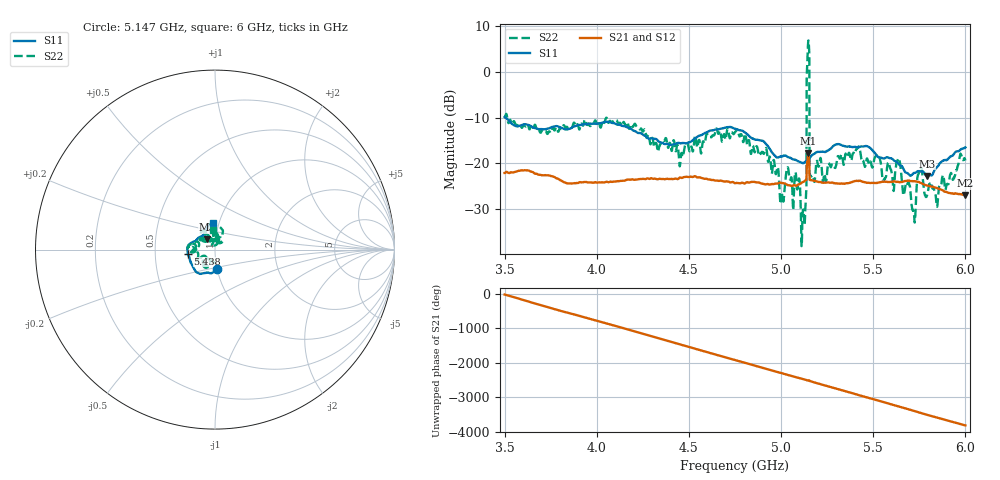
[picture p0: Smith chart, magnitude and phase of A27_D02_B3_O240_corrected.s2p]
! Created with skrf 1.9.0 (http://scikit-rf.org).
# Hz S RI R 50.0
!freq ReS11 ImS11 ReS21 ImS21 ReS12 ImS12 ReS22 ImS22
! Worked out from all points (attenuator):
!   1601 points, 3.5 GHz to 6 GHz, reference 50 ohm
!   highest |S21| = -17.74 dB at 5.148 GHz (marker M1); lowest = -26.9 dB at 6 GHz (marker M2)
!   lowest |S11| = -22.7 dB at 5.791 GHz (marker M3), VSWR 1.16, Z = 45.5 + j5.31 ohm
!   |S11| at or under -10 dB: 3.504 GHz to end of sweep
!   |S22| runs from -38.1 to 6.8 dB; largest |S21 - S12| = 0.0012
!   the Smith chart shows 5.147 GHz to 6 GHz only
!   S11 on the Smith chart (normalised r, x): 5.147 GHz: 0.99, -0.22; 5.438 GHz: 0.74, -0.03; 6 GHz: 0.94, +0.29
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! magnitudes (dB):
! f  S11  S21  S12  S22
! 3.5 GHz  -9.9  -22.1  -22.1  -10.2
! 3.917 GHz  -11.6  -24.1  -24.1  -11.3
! 4.334 GHz  -15.2  -23.4  -23.4  -17.2
! 4.458 GHz  -15.6  -23.1  -23.1  -18.0
! 4.75 GHz  -12.4  -24.3  -24.2  -13.1
! 4.927 GHz  -16.1  -24.5  -24.5  -18.7
! 5.005 GHz  -18.4  -24.3  -24.3  -26.9
! 5.034 GHz  -18.6  -24.7  -24.6  -20.9
! 5.088 GHz  -19.4  -24.7  -24.7  -25.7
! 5.12 GHz  -20.0  -24.0  -24.0  -30.1
! 5.125 GHz  -19.9  -23.9  -23.9  -32.1
! 5.141 GHz  -19.3  -20.4  -20.3  0.2
! 5.147 GHz  -19.2  -17.8  -17.8  6.5
! 5.148 GHz  -19.1  -17.7  -17.8  6.8
! 5.167 GHz  -18.2  -23.7  -23.6  -22.7
! 5.438 GHz  -16.3  -23.9  -23.9  -19.3
! 5.584 GHz  -18.8  -24.1  -24.0  -19.7
! 5.638 GHz  -20.1  -24.0  -24.0  -18.9
! 5.719 GHz  -22.1  -23.9  -23.8  -30.5
! 5.752 GHz  -21.7  -24.2  -24.1  -21.4
! 5.791 GHz  -22.7  -24.8  -24.8  -27.1
! 6 GHz  -16.5  -26.9  -26.9  -19.4
